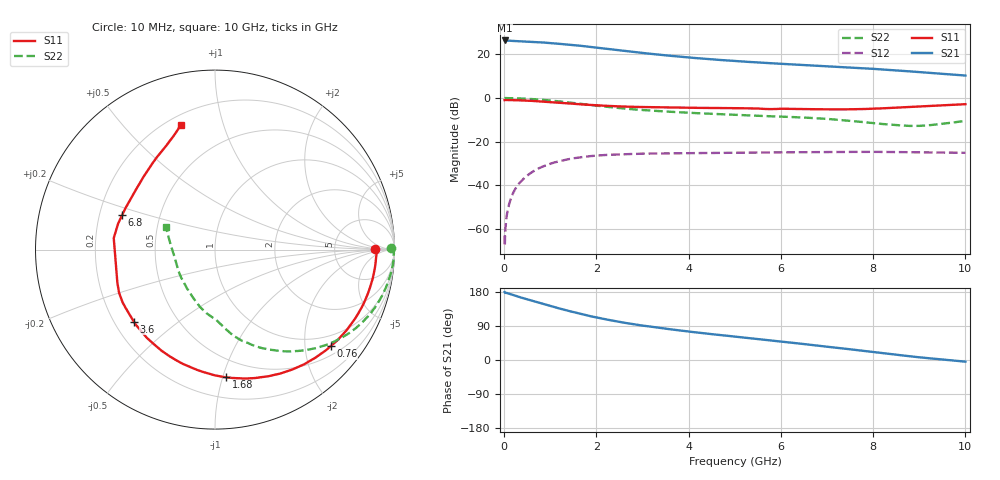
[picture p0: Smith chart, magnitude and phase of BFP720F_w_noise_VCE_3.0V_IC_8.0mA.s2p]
! Infineon Technologies  Discrete & RF Semiconductors
! BFP720F
! VCE =  3.0 V,  IC =  8.0 mA
! Common Emitter S-Parameters:  Jan 2016
# GHz  S  MA  R  50
!  f  S11  S21  S12  S22
! GHz  MAG  ANG  MAG  ANG  MAG  ANG  MAG  ANG
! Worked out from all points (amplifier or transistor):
!   233 points, 10 MHz to 10 GHz, reference 50 ohm
!   highest |S21| = 26.4 dB at 10 MHz (marker M1)
!   |S21| within 3 dB of that: start of sweep to 1.883 GHz
!   unconditionally stable (mu >= 1): start of sweep to 14.03 MHz; 7.079 GHz to end of sweep
!   at 200 MHz: K = 0.05, MSG = 34.8 dB, |S12| = -43.3 dB
!   at 1.74 GHz: K = 0.27, MSG = 25.4 dB, |S12| = -27.0 dB
!   at 10 GHz: K = 1.28, MAG = 14.5 dB, |S12| = -25.1 dB
!   lowest NFmin = 0.50 dB at 450 MHz
!   S11 on the Smith chart (normalised r, x): 10 MHz: 18, +0; 760 MHz: 0.71, -2.58; 1.68 GHz: 0.35, -1.03; 3.6 GHz: 0.28, -0.35; 6.8 GHz: 0.30, +0.17; 10 GHz: 0.25, +0.73
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0.01  0.8935 0.1  20.9 179.1  0.0007 -25.5  0.9824 0.6
0.015  0.8973 -0.4  20.75 178.2  0.0004 33.8  0.9899 -0.3
0.02  0.9012 -0.9  20.61 177.2  0.0007 93.2  0.9976 -1.2
0.05  0.8991 -2.6  20.76 177.2  0.0018 86.2  0.9957 -1.6
0.12  0.8967 -6.3  20.62 174.3  0.0041 84.8  0.9951 -4.0
0.36  0.8825 -18.9  19.95 165.0  0.0121 78.6  0.9771 -12.0
0.76  0.8395 -39.9  18.97 150.7  0.0246 66.5  0.9233 -24.8
0.96  0.8135 -50.1  18.36 143.8  0.0301 60.7  0.886 -31.0
1.2  0.7808 -62.1  17.48 135.9  0.0357 54.2  0.8366 -38.0
1.4  0.7527 -71.7  16.71 129.5  0.0397 49.1  0.7935 -43.4
1.68  0.7141 -85.0  15.67 120.9  0.044 42.5  0.7316 -50.5
1.9  0.6886 -94.2  14.72 114.8  0.0468 38.0  0.687 -55.6
2.16  0.6655 -103.7  13.67 108.3  0.0491 33.3  0.64 -60.8
2.56  0.6393 -116.5  12.18 99.3  0.0513 27.1  0.5798 -67.7
3  0.6213 -127.7  10.79 90.8  0.0529 22.2  0.5307 -73.4
3.4  0.6091 -135.1  9.754 84.3  0.0536 18.6  0.4979 -77.0
3.6  0.6048 -138.4  9.303 81.1  0.0539 17.0  0.4835 -78.6
4.1  0.5959 -145.5  8.335 73.7  0.0545 13.9  0.4533 -81.6
5.1  0.5835 -156.8  6.95 60.5  0.0557 9.0  0.4071 -86.9
6.8  0.5517 159.4  5.481 38.0  0.0576 2.5  0.3416 -101.5
8.4  0.5942 125.8  4.38 15.4  0.0579 -3.8  0.2443 -140.8
10  0.7217 105.2  3.276 -4.4  0.0554 -7.0  0.2995 155.5
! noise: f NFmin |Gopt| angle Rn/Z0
0.45  0.5  0.36  4  0.12
0.9  0.52  0.34  9  0.16
1.8  0.57  0.32  16  0.15
2.4  0.6  0.29  26  0.14
5.5  0.76  0.28  53  0.08
10  0.98  0.26  -98  0.16
